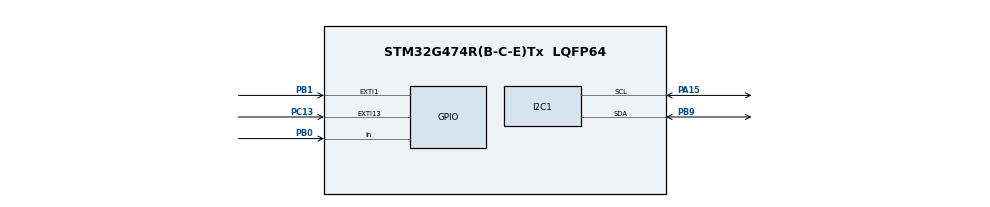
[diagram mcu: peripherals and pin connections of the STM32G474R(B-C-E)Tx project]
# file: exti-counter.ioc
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I2C1.Timing=0x40B285C2
Mcu.Family=STM32G4
Mcu.Name=STM32G474R(B-C-E)Tx
Mcu.Package=LQFP64
NVIC.EXTI15_10_IRQn=true\:0\:0\:false\:false\:true\:true\:true\:true
NVIC.EXTI1_IRQn=true\:0\:0\:false\:false\:true\:true\:true\:true
NVIC.PriorityGroup=NVIC_PRIORITYGROUP_4
PA15.Mode=I2C
PA15.Signal=I2C1_SCL
PB0.Signal=GPIO_Input
PB1.Signal=GPXTI1
PB9.Mode=I2C
PB9.Signal=I2C1_SDA
PC13.Signal=GPXTI13
ProjectManager.HeapSize=0x200
ProjectManager.StackSize=0x400
ProjectManager.TargetToolchain=STM32CubeIDE
RCC.ADC12Freq_Value=170000000
RCC.ADC345Freq_Value=170000000
RCC.AHBFreq_Value=170000000
RCC.APB1Freq_Value=170000000
RCC.APB1TimFreq_Value=170000000
RCC.APB2Freq_Value=170000000
RCC.APB2TimFreq_Value=170000000
RCC.CortexFreq_Value=170000000
RCC.EXTERNAL_CLOCK_VALUE=12288000
RCC.HCLKFreq_Value=170000000
RCC.HSE_VALUE=24000000
RCC.HSI48_VALUE=48000000
RCC.HSI_VALUE=16000000
RCC.LSE_VALUE=32768
RCC.PLLM=RCC_PLLM_DIV4
RCC.PLLN=85
RCC.RTCClockSelection=RCC_RTCCLKSOURCE_LSE
RCC.SYSCLKFreq_VALUE=170000000
RCC.SYSCLKSource=RCC_SYSCLKSOURCE_PLLCLK
RCC.USBFreq_Value=170000000
RCC.VCOOutputFreq_Value=340000000
VP_SYS_VS_DBSignals.Mode=DisableDeadBatterySignals
board=NUCLEO-G474RE

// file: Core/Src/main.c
/* USER CODE BEGIN Header */
/**
  ******************************************************************************
  * @file           : main.c
  * @brief          : External interrupt counter
  ******************************************************************************
  * @attention
  *
  * Copyright (c) 2026 STMicroelectronics.
  * All rights reserved.
  *
  * This software is licensed under terms that can be found in the LICENSE file
  * in the root directory of this software component.
  * If no LICENSE file comes with this software, it is provided AS-IS.
  *
  ******************************************************************************
  Σε αυτό το παράδειγμα εκτελούνται δύο ρουτίνες εξυπηρέτησης διακοπών που προκαλούνται
  από τις γραμμές 1(PB1) και 13(PC13) από τα κουμπιά B1 και User Button αντίστοιχα.
  Αν πατήσω το κουμμπί Β1 δημιουργείται αίτημα exti1 διακοπής και εκτελείται η blink() 3 φορές.
  Αν πατήσω το κουμπί User Button δημιουργείται αίτημα exti διακοπής και εκτελείται η UserButton_Callback()
  που στην ουσία αυξάνει έναν μετρητή στην PCA_9555_OUTPUT_0 extended port.
  Αν όμως έχω πατημένο το κουμπί PB0, όσο και να πατήσω το User Button δεν αυξάνει ο μετρητής.
  */
/* USER CODE END Header */
#include "main.h"

/* USER CODE BEGIN Includes */
#include "stm32g4xx_ll_i2c.h"
#include "stm32g4xx_ll_gpio.h"
#include "stm32g4xx_ll_bus.h"
#include "stm32g4xx_ll_utils.h"
/* USER CODE END Includes */

/* USER CODE BEGIN PD */

/*
 * Ο μετρητής χρησιμοποιεί 5 bits:
 *
 * 0x1F = 0001 1111
 *
 * Επομένως οι επιτρεπόμενες τιμές είναι 0 έως 31.
 */
#define COUNTER_MASK  0x1FU

/* Address of PCA9555 (A0-A2 grounded -> 0x40) */
#define PCA9555_ADDRESS 0x40

/* Registers of PCA9555 */
typedef enum {
    REG_INPUT_0 = 0,
	REG_INPUT_1 = 1,
    REG_OUTPUT_0 = 2,
	REG_OUTPUT_1 = 3,
    REG_POLARITY_INV_0 = 4,
	REG_POLARITY_INV_1 = 5,
    REG_CONFIGURATION_0 = 6,
	REG_CONFIGURATION_1 = 7
} PCA9555_REGISTERS;
/* USER CODE END PD */

/* USER CODE BEGIN PV */

/*
 * Μετρητής των εξωτερικών διακοπών.
 *
 * Το volatile είναι απαραίτητο επειδή η μεταβλητή
 * τροποποιείται μέσα από ρουτίνα διακοπής.
 */
volatile uint8_t counter = 0U;

/* USER CODE END PV */

void SystemClock_Config(void);
static void MX_GPIO_Init(void);
static void MX_I2C1_Init(void);
/* USER CODE BEGIN PFP */

void UserButton_Callback(void);
void PCA9555_Write(uint8_t reg, uint8_t value);
uint8_t PCA9555_Read(uint8_t reg);
void blink(void);

/* USER CODE END PFP */

/* USER CODE BEGIN 0 */

/**
  * @brief  Εμφανίζει την τιμή του μετρητή στα EXT_PORT0[4:0] του PCA9555.
  * @param  value: Τιμή από 0 έως 31.
  * @retval None
  */
static void DisplayCounter(uint8_t value)
{
    uint8_t output_value;

    output_value = value & COUNTER_MASK;

    PCA9555_Write(REG_OUTPUT_0, output_value);
}

// Write "value" to "reg" of PCA9555
void PCA9555_Write(uint8_t reg, uint8_t value)
{
	// Start the transfer. Use I2C1, transmit 2 bytes in total, send stop automatically when the transmission is over and we want to write
    LL_I2C_HandleTransfer(I2C1, PCA9555_ADDRESS, LL_I2C_ADDRSLAVE_7BIT, 2, LL_I2C_MODE_AUTOEND, LL_I2C_GENERATE_START_WRITE);

    // Send the PCA register address (reg)
    while(!LL_I2C_IsActiveFlag_TXIS(I2C1)); // Wait until the buffer is empty
    LL_I2C_TransmitData8(I2C1, reg);

    // Send the data (value)
    while(!LL_I2C_IsActiveFlag_TXIS(I2C1)); // Wait until the buffer is empty
    LL_I2C_TransmitData8(I2C1, value);

    // Wait for the Stop flag
    while(!LL_I2C_IsActiveFlag_STOP(I2C1));
    LL_I2C_ClearFlag_STOP(I2C1); // Clear the Stop flag
}

// Read a value from "reg" of PCA9555
uint8_t PCA9555_Read(uint8_t reg)
{
    uint8_t received_data = 0;

    // 1st phase
    // Start the transfer. Use I2C1, transmit 1 byte in total (the register), don't stop yet and we want to write
    LL_I2C_HandleTransfer(I2C1, PCA9555_ADDRESS, LL_I2C_ADDRSLAVE_7BIT, 1, LL_I2C_MODE_SOFTEND, LL_I2C_GENERATE_START_WRITE);

    while(!LL_I2C_IsActiveFlag_TXIS(I2C1)); // Wait until the buffer is empty
    LL_I2C_TransmitData8(I2C1, reg);        // Send the PCA register address (reg)

    while(!LL_I2C_IsActiveFlag_TC(I2C1));   // Wait until the transfer is complete

    // 2nd phase
    // Restart the transfer. Use I2C1, receive 1 byte in total, send stop automatically when the transmission is over and we want to read
    LL_I2C_HandleTransfer(I2C1, PCA9555_ADDRESS, LL_I2C_ADDRSLAVE_7BIT, 1, LL_I2C_MODE_AUTOEND, LL_I2C_GENERATE_START_READ);

    while(!LL_I2C_IsActiveFlag_RXNE(I2C1)); // Wait until the data arrives
    received_data = LL_I2C_ReceiveData8(I2C1); // Read the data

    // Wait for the Stop flag
    while(!LL_I2C_IsActiveFlag_STOP(I2C1));
    LL_I2C_ClearFlag_STOP(I2C1); // Clear the Stop flag

    return received_data; // Return the data
}

/* USER CODE END 0 */

int main(void)
{

  /* MCU Configuration--------------------------------------------------------*/

  /* Reset of all peripherals, Initializes the Flash interface and the Systick. */
  LL_APB2_GRP1_EnableClock(LL_APB2_GRP1_PERIPH_SYSCFG);
  LL_APB1_GRP1_EnableClock(LL_APB1_GRP1_PERIPH_PWR);

  /* System interrupt init*/
  NVIC_SetPriorityGrouping(NVIC_PRIORITYGROUP_4);

  /** Disable the internal Pull-Up in Dead Battery pins of UCPD peripheral
  */
  LL_PWR_DisableUCPDDeadBattery();

  /* Configure the system clock */
  SystemClock_Config();

  /* Initialize all configured peripherals */
  MX_GPIO_Init();
  MX_I2C1_Init();
  /* USER CODE BEGIN 2 */

  // Set EXT_PORT0 as output
  PCA9555_Write(REG_CONFIGURATION_0, 0x00);

  /*
   * Αρχική εμφάνιση:
   *
   * counter = 0
   * EXT_PORT0[4:0] = 00000
   */
  DisplayCounter(counter);

  /* USER CODE END 2 */

  /* Infinite loop */
  /* USER CODE BEGIN WHILE */

  while (1)
  {
    /*
     * Η κύρια ρουτίνα δεν χρειάζεται να εκτελεί κάτι.
     *
     * Το πρόγραμμα περιμένει την εξωτερική διακοπή
     * που προκαλείται από το πλήκτρο PC13.
     */

    /* USER CODE END WHILE */

  }
}

void SystemClock_Config(void)
{
  LL_FLASH_SetLatency(LL_FLASH_LATENCY_4);
  while(LL_FLASH_GetLatency() != LL_FLASH_LATENCY_4)
  {
  }
  LL_PWR_EnableRange1BoostMode();
  LL_RCC_HSI_Enable();
   /* Wait till HSI is ready */
  while(LL_RCC_HSI_IsReady() != 1)
  {
  }

  LL_RCC_HSI_SetCalibTrimming(64);
  LL_RCC_PLL_ConfigDomain_SYS(LL_RCC_PLLSOURCE_HSI, LL_RCC_PLLM_DIV_4, 85, LL_RCC_PLLR_DIV_2);
  LL_RCC_PLL_EnableDomain_SYS();
  LL_RCC_PLL_Enable();
   /* Wait till PLL is ready */
  while(LL_RCC_PLL_IsReady() != 1)
  {
  }

  LL_RCC_SetSysClkSource(LL_RCC_SYS_CLKSOURCE_PLL);
  LL_RCC_SetAHBPrescaler(LL_RCC_SYSCLK_DIV_2);
   /* Wait till System clock is ready */
  while(LL_RCC_GetSysClkSource() != LL_RCC_SYS_CLKSOURCE_STATUS_PLL)
  {
  }

  /* Insure 1us transition state at intermediate medium speed clock*/
  for (__IO uint32_t i = (170 >> 1); i !=0; i--);

  /* Set AHB prescaler*/
  LL_RCC_SetAHBPrescaler(LL_RCC_SYSCLK_DIV_1);
  LL_RCC_SetAPB1Prescaler(LL_RCC_APB1_DIV_1);
  LL_RCC_SetAPB2Prescaler(LL_RCC_APB2_DIV_1);

  LL_Init1msTick(170000000);

  LL_SetSystemCoreClock(170000000);
}

static void MX_I2C1_Init(void)
{

  LL_I2C_InitTypeDef I2C_InitStruct = {0};

  LL_GPIO_InitTypeDef GPIO_InitStruct = {0};

  LL_RCC_SetI2CClockSource(LL_RCC_I2C1_CLKSOURCE_PCLK1);

  LL_AHB2_GRP1_EnableClock(LL_AHB2_GRP1_PERIPH_GPIOA);
  LL_AHB2_GRP1_EnableClock(LL_AHB2_GRP1_PERIPH_GPIOB);
  /**I2C1 GPIO Configuration
  PA15   ------> I2C1_SCL
  PB9   ------> I2C1_SDA
  */
  GPIO_InitStruct.Pin = LL_GPIO_PIN_15;
  GPIO_InitStruct.Mode = LL_GPIO_MODE_ALTERNATE;
  GPIO_InitStruct.Speed = LL_GPIO_SPEED_FREQ_LOW;
  GPIO_InitStruct.OutputType = LL_GPIO_OUTPUT_OPENDRAIN;
  GPIO_InitStruct.Pull = LL_GPIO_PULL_NO;
  GPIO_InitStruct.Alternate = LL_GPIO_AF_4;
  LL_GPIO_Init(GPIOA, &GPIO_InitStruct);

  GPIO_InitStruct.Pin = LL_GPIO_PIN_9;
  GPIO_InitStruct.Mode = LL_GPIO_MODE_ALTERNATE;
  GPIO_InitStruct.Speed = LL_GPIO_SPEED_FREQ_LOW;
  GPIO_InitStruct.OutputType = LL_GPIO_OUTPUT_OPENDRAIN;
  GPIO_InitStruct.Pull = LL_GPIO_PULL_NO;
  GPIO_InitStruct.Alternate = LL_GPIO_AF_4;
  LL_GPIO_Init(GPIOB, &GPIO_InitStruct);

  /* Peripheral clock enable */
  LL_APB1_GRP1_EnableClock(LL_APB1_GRP1_PERIPH_I2C1);

  /** I2C Initialization
  */
  I2C_InitStruct.PeripheralMode = LL_I2C_MODE_I2C;
  I2C_InitStruct.Timing = 0x40B285C2;
  I2C_InitStruct.AnalogFilter = LL_I2C_ANALOGFILTER_ENABLE;
  I2C_InitStruct.DigitalFilter = 0;
  I2C_InitStruct.OwnAddress1 = 0;
  I2C_InitStruct.TypeAcknowledge = LL_I2C_ACK;
  I2C_InitStruct.OwnAddrSize = LL_I2C_OWNADDRESS1_7BIT;
  LL_I2C_Init(I2C1, &I2C_InitStruct);
  LL_I2C_EnableAutoEndMode(I2C1);
  LL_I2C_SetOwnAddress2(I2C1, 0, LL_I2C_OWNADDRESS2_NOMASK);
  LL_I2C_DisableOwnAddress2(I2C1);
  LL_I2C_DisableGeneralCall(I2C1);
  LL_I2C_EnableClockStretching(I2C1);

}

static void MX_GPIO_Init(void)
{
  LL_EXTI_InitTypeDef EXTI_InitStruct = {0};
  LL_GPIO_InitTypeDef GPIO_InitStruct = {0};

  /* GPIO Ports Clock Enable */
  LL_AHB2_GRP1_EnableClock(LL_AHB2_GRP1_PERIPH_GPIOC);
  LL_AHB2_GRP1_EnableClock(LL_AHB2_GRP1_PERIPH_GPIOB);
  LL_AHB2_GRP1_EnableClock(LL_AHB2_GRP1_PERIPH_GPIOA);

  /**/
  LL_SYSCFG_SetEXTISource(LL_SYSCFG_EXTI_PORTC, LL_SYSCFG_EXTI_LINE13);

  /**/
  LL_SYSCFG_SetEXTISource(LL_SYSCFG_EXTI_PORTB, LL_SYSCFG_EXTI_LINE1);

  /**/
  EXTI_InitStruct.Line_0_31 = LL_EXTI_LINE_13;
  EXTI_InitStruct.LineCommand = ENABLE;
  EXTI_InitStruct.Mode = LL_EXTI_MODE_IT;
  EXTI_InitStruct.Trigger = LL_EXTI_TRIGGER_RISING;
  LL_EXTI_Init(&EXTI_InitStruct);

  /**/
  EXTI_InitStruct.Line_0_31 = LL_EXTI_LINE_1;
  EXTI_InitStruct.LineCommand = ENABLE;
  EXTI_InitStruct.Mode = LL_EXTI_MODE_IT;
  EXTI_InitStruct.Trigger = LL_EXTI_TRIGGER_RISING;
  LL_EXTI_Init(&EXTI_InitStruct);

  /**/
  LL_GPIO_SetPinPull(GPIOC, LL_GPIO_PIN_13, LL_GPIO_PULL_NO);

  /**/
  LL_GPIO_SetPinPull(GPIOB, LL_GPIO_PIN_1, LL_GPIO_PULL_NO);

  /**/
  LL_GPIO_SetPinMode(GPIOC, LL_GPIO_PIN_13, LL_GPIO_MODE_INPUT);

  /**/
  LL_GPIO_SetPinMode(GPIOB, LL_GPIO_PIN_1, LL_GPIO_MODE_INPUT);

  /**/
  GPIO_InitStruct.Pin = LL_GPIO_PIN_0;
  GPIO_InitStruct.Mode = LL_GPIO_MODE_INPUT;
  GPIO_InitStruct.Pull = LL_GPIO_PULL_NO;
  LL_GPIO_Init(GPIOB, &GPIO_InitStruct);

  /* EXTI interrupt init*/
  NVIC_SetPriority(EXTI1_IRQn, NVIC_EncodePriority(NVIC_GetPriorityGrouping(),0, 0));
  NVIC_EnableIRQ(EXTI1_IRQn);
  NVIC_SetPriority(EXTI15_10_IRQn, NVIC_EncodePriority(NVIC_GetPriorityGrouping(),0, 0));
  NVIC_EnableIRQ(EXTI15_10_IRQn);

}

/* USER CODE BEGIN 4 */

/**
  * @brief  Εκτελείται μετά από διακοπή του PC13.
  * @retval None
  */
void UserButton_Callback(void)
{
  /*
   * Το PB1 είναι active-high,
   * διακόπτη του ntuAg2board
   * ωστε να έχω pull-up στο PB1.
   *
   * Αν είναι πατημένο, έχει λογική τιμή 1.
   * Σε αυτή την περίπτωση εγκαταλείπουμε τη
   * συνάρτηση χωρίς να αυξήσουμε τον μετρητή.
   */
  if (LL_GPIO_IsInputPinSet(
          GPIOB,
          LL_GPIO_PIN_0
      ) != 0U)
  {
    return;
  }

  /*
   * Το PB0 δεν είναι πατημένο, επομένως
   * αυξάνουμε τον μετρητή.
   */
  counter++;

  /*
   * Όταν ο μετρητής ξεπεράσει το 31,
   * επιστρέφει στο 0.
   */
  if (counter > 31U)
  {
    counter = 0U;
  }

  /*
   * Εμφάνιση της νέας τιμής στα EXT_PORT0[4:0] του PCA9555.
   */
  DisplayCounter(counter);
}

void blink(void) {
    PCA9555_Write(REG_OUTPUT_0, 0xFF);
    LL_mDelay(500);
    PCA9555_Write(REG_OUTPUT_0, 0x00);
    LL_mDelay(500);
}
/* USER CODE END 4 */

void Error_Handler(void)
{
  __disable_irq();
  while (1)
  {
  }
}
#ifdef USE_FULL_ASSERT
/**
  * @brief  Reports the name of the source file and the source line number
  *         where the assert_param error has occurred.
  * @param  file: pointer to the source file name
  * @param  line: assert_param error line source number
  * @retval None
  */
void assert_failed(uint8_t *file, uint32_t line)
{
  /* USER CODE BEGIN 6 */

  /*
   * User can add implementation to report the
   * file name and line number.
   */

  /* USER CODE END 6 */
}
#endif /* USE_FULL_ASSERT */
